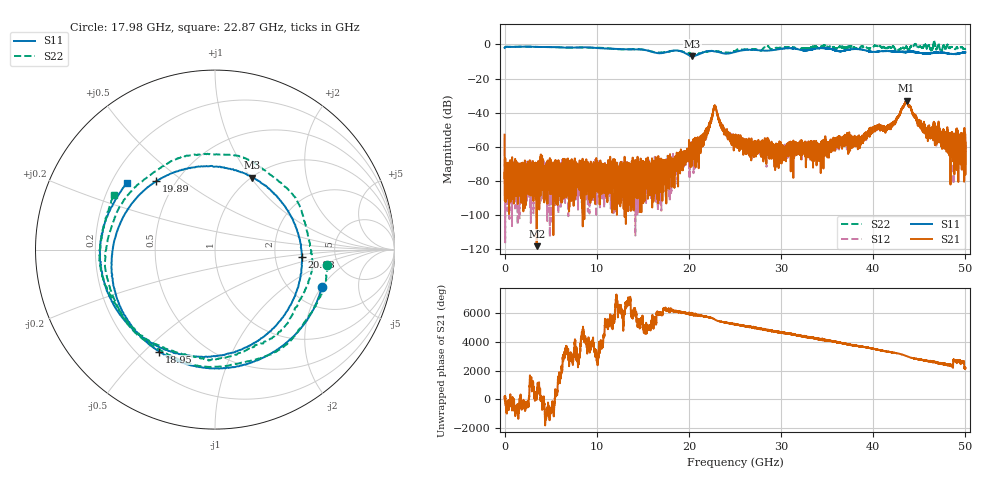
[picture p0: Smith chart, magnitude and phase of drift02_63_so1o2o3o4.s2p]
!Created with skrf (http://scikit-rf.org).
# Hz S RI R 50.0
!freq ReS11 ImS11 ReS21 ImS21 ReS12 ImS12 ReS22 ImS22
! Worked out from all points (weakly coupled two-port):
!   10001 points, 300 kHz to 50 GHz, reference 50 ohm
!   highest |S21| = -32.97 dB at 43.62 GHz (marker M1); lowest = -118.1 dB at 3.48 GHz (marker M2)
!   lowest |S11| = -6.9 dB at 20.38 GHz (marker M3), VSWR 2.64, Z = 50.6 + j50.8 ohm
!   |S11| at or under -10 dB: nowhere
!   |S22| runs from -5.7 to 2.3 dB; largest |S21 - S12| = 0.0032
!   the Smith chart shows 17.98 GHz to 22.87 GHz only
!   S11 on the Smith chart (normalised r, x): 17.98 GHz: 2.88, -2.01; 18.95 GHz: 0.28, -0.56; 19.89 GHz: 0.39, +0.40; 20.88 GHz: 2.85, -0.30; 22.87 GHz: 0.26, +0.31
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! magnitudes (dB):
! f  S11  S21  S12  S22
! 300 kHz  -2.1  -52.9  -55.0  -2.1
! 270.3 MHz  -1.4  -80.0  -75.3  -1.4
! 3.48 GHz  -1.5  -118.1  -78.2  -1.5
! 8.335 GHz  -1.7  -74.8  -75.0  -1.9
! 16.67 GHz  -5.2  -71.8  -74.4  -4.7
! 17.98 GHz  -4.0  -72.0  -83.0  -4.0
! 18.95 GHz  -3.8  -67.5  -72.1  -3.9
! 19.89 GHz  -6.0  -65.3  -65.5  -5.1
! 20.38 GHz  -6.9  -60.9  -59.0  -5.4
! 20.88 GHz  -6.3  -57.1  -62.5  -5.6
! 21.76 GHz  -4.3  -55.9  -53.4  -4.4
! 22.87 GHz  -4.2  -36.3  -36.4  -3.9
! 23.75 GHz  -5.3  -48.9  -49.9  -4.6
! 25 GHz  -4.5  -53.0  -56.7  -3.9
! 29.73 GHz  -2.9  -63.0  -65.6  -2.1
! 33.34 GHz  -3.0  -60.8  -60.5  -1.6
! 38.56 GHz  -2.9  -56.8  -56.9  -2.1
! 40.21 GHz  -4.4  -49.7  -49.9  -0.7
! 41.67 GHz  -4.0  -48.3  -47.9  -2.0
! 43.62 GHz  -4.5  -33.0  -33.3  -1.7
! 45.65 GHz  -5.4  -50.2  -49.4  -0.1
! 50 GHz  -4.6  -57.7  -56.5  -2.7
